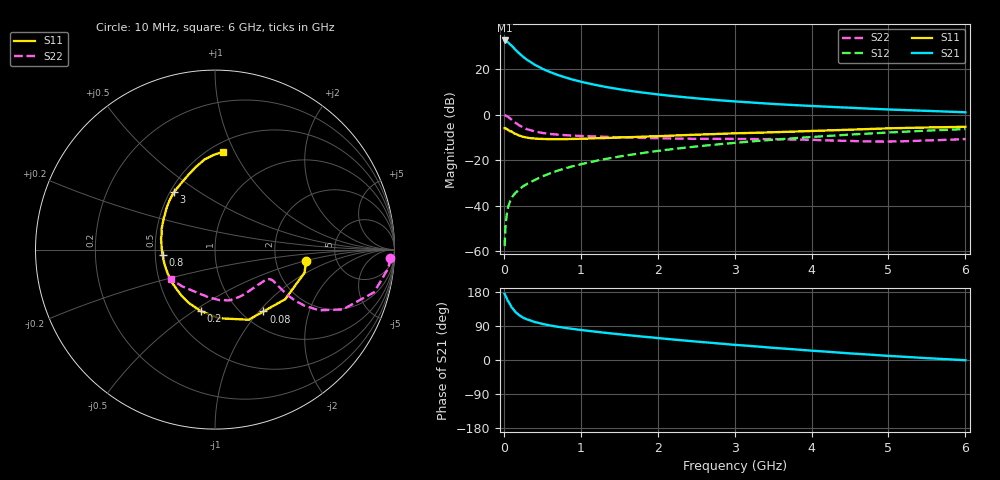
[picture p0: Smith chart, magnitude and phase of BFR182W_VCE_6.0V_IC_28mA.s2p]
! Infineon Technologies  Discrete & RF Semiconductors
! BFR182W
! VCE =  6.0 V,  IC =  28 mA
! Common Emitter S-Parameters:  Jan 2017
# GHz  S  MA  R  50
!  f  S11  S21  S12  S22
! GHz  MAG  ANG  MAG  ANG  MAG  ANG  MAG  ANG
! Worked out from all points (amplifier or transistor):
!   77 points, 10 MHz to 6 GHz, reference 50 ohm
!   highest |S21| = 32.7 dB at 10 MHz (marker M1)
!   |S21| within 3 dB of that: start of sweep to 121 MHz
!   unconditionally stable (mu >= 1): 703.1 MHz to 2.252 GHz
!   at 130 MHz: K = 0.49, MSG = 32.3 dB, |S12| = -35.1 dB
!   at 2.2 GHz: K = 1.00, MAG = 11.3 dB, |S12| = -15.0 dB
!   at 6 GHz: K = 0.86, MSG = 3.7 dB, |S12| = -6.2 dB
!   S11 on the Smith chart (normalised r, x): 10 MHz: 3.00, -0.51; 80 MHz: 1.24, -1.06; 200 MHz: 0.68, -0.53; 800 MHz: 0.55, -0.04; 3 GHz: 0.52, +0.40; 6 GHz: 0.58, +0.90
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0.01  0.512 -7.0  43.2 174.6  0.0013 80.0  0.9782 -2.7
0.02  0.5151 -14.5  43 170.2  0.0033 94.9  0.9707 -6.2
0.05  0.479 -35.3  39.99 157.0  0.0086 74.9  0.9176 -15.0
0.08  0.4376 -52.0  35.57 147.1  0.0124 71.6  0.8366 -20.6
0.1  0.4335 -64.3  33.33 139.2  0.0149 70.3  0.7879 -25.0
0.15  0.3832 -86.7  27.19 126.8  0.0192 67.0  0.6731 -30.2
0.2  0.3514 -103.2  22.45 118.2  0.0229 65.7  0.5884 -32.1
0.25  0.3306 -116.4  18.97 111.8  0.0269 66.5  0.529 -32.5
0.3  0.3164 -126.6  16.28 107.2  0.0303 66.9  0.4851 -32.2
0.4  0.3027 -141.3  12.68 100.2  0.0368 68.8  0.4321 -30.9
0.5  0.2957 -152.7  10.34 95.3  0.0444 70.5  0.4009 -29.7
0.6  0.2929 -161.1  8.738 91.2  0.0518 71.4  0.3808 -28.8
0.7  0.2924 -168.2  7.543 87.8  0.0594 72.0  0.3673 -28.2
0.8  0.2936 -174.0  6.65 84.7  0.0673 72.4  0.3578 -28.1
1.1  0.302 172.1  4.91 76.9  0.0899 72.4  0.3393 -29.3
1.5  0.3193 159.0  3.661 68.0  0.1211 71.4  0.3221 -33.4
2.1  0.3445 143.5  2.7 56.1  0.169 67.9  0.3045 -43.7
3  0.3932 125.7  1.977 40.0  0.2422 61.3  0.296 -63.4
3.1  0.3968 123.9  1.927 38.6  0.2505 60.4  0.2948 -65.5
4.1  0.4482 108.1  1.539 23.3  0.3346 51.7  0.2788 -87.2
5.1  0.5102 95.3  1.294 9.7  0.4175 42.1  0.2609 -118.3
6  0.5465 85.3  1.141 -0.6  0.488 32.8  0.2947 -145.8
